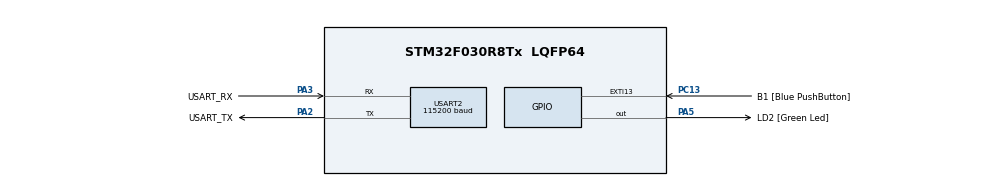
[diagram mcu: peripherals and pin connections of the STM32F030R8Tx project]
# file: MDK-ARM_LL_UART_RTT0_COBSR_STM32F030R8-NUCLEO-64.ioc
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Mcu.Family=STM32F0
Mcu.Name=STM32F030R8Tx
Mcu.Package=LQFP64
NVIC.USART2_IRQn=true\:0\:0\:false\:false\:true\:true\:true
PA13.GPIO_Label=TMS
PA13.Mode=Serial_Wire
PA13.Signal=SYS_SWDIO
PA14.GPIO_Label=TCK
PA14.Mode=Serial_Wire
PA14.Signal=SYS_SWCLK
PA2.GPIO_Label=USART_TX
PA2.GPIO_Mode=GPIO_MODE_AF_PP
PA2.GPIO_PuPd=GPIO_NOPULL
PA2.GPIO_Speed=GPIO_SPEED_FREQ_LOW
PA2.Mode=Asynchronous
PA2.Signal=USART2_TX
PA3.GPIO_Label=USART_RX
PA3.GPIO_Mode=GPIO_MODE_AF_PP
PA3.GPIO_PuPd=GPIO_NOPULL
PA3.GPIO_Speed=GPIO_SPEED_FREQ_LOW
PA3.Mode=Asynchronous
PA3.Signal=USART2_RX
PA5.GPIO_Label=LD2 [Green Led]
PA5.GPIO_Mode=GPIO_MODE_OUTPUT_PP
PA5.GPIO_PuPd=GPIO_NOPULL
PA5.GPIO_Speed=GPIO_SPEED_FREQ_LOW
PA5.Signal=GPIO_Output
PC13.GPIO_Label=B1 [Blue PushButton]
PC13.GPIO_ModeDefaultEXTI=GPIO_MODE_IT_FALLING
PC13.Signal=GPXTI13
PC14-OSC32_IN.Mode=LSE-External-Oscillator
PC14-OSC32_IN.Signal=RCC_OSC32_IN
PC15-OSC32_OUT.Mode=LSE-External-Oscillator
PC15-OSC32_OUT.Signal=RCC_OSC32_OUT
PF0-OSC_IN.Mode=HSE-External-Clock-Source
PF0-OSC_IN.Signal=RCC_OSC_IN
PF1-OSC_OUT.Signal=RCC_OSC_OUT
ProjectManager.HeapSize=0x200
ProjectManager.StackSize=0x400
ProjectManager.TargetToolchain=MDK-ARM V5.27
RCC.AHBFreq_Value=48000000
RCC.APB1Freq_Value=48000000
RCC.APB1TimFreq_Value=48000000
RCC.HCLKFreq_Value=48000000
RCC.PLLMUL=RCC_PLL_MUL12
RCC.SYSCLKFreq_VALUE=48000000
RCC.SYSCLKSource=RCC_SYSCLKSOURCE_PLLCLK
USART2.BaudRate=115200
USART2.VirtualMode-Asynchronous=VM_ASYNC
board=NUCLEO-F030R8

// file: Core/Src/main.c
/* USER CODE BEGIN Header */
/**
  ******************************************************************************
  * @file           : main.c
  * @brief          : Main program body
  ******************************************************************************
  * @attention
  *
  * <h2><center>&copy; Copyright (c) 2021 STMicroelectronics.
  * All rights reserved.</center></h2>
  *
  * This software component is licensed by ST under BSD 3-Clause license,
  * the "License"; You may not use this file except in compliance with the
  * License. You may obtain a copy of the License at:
  *                        opensource.org/licenses/BSD-3-Clause
  *
  ******************************************************************************
  */
/* USER CODE END Header */
#include "main.h"

/* USER CODE BEGIN Includes */
#include <stdlib.h> // srand
#include "trice.h"
/* USER CODE END Includes */

/* USER CODE BEGIN PV */
int milliSecond = 0;
/* USER CODE END PV */

void SystemClock_Config(void);
static void MX_GPIO_Init(void);
static void MX_USART2_UART_Init(void);

int main(void)
{
  /* USER CODE BEGIN 1 */
#ifdef ENCRYPT
    InitXteaTable();
#endif
  /* USER CODE END 1 */

  /* MCU Configuration--------------------------------------------------------*/

  /* Reset of all peripherals, Initializes the Flash interface and the Systick. */

  LL_APB1_GRP2_EnableClock(LL_APB1_GRP2_PERIPH_SYSCFG);
  LL_APB1_GRP1_EnableClock(LL_APB1_GRP1_PERIPH_PWR);

  /* System interrupt init*/

  /* Configure the system clock */
  SystemClock_Config();

  /* USER CODE BEGIN SysInit */
    SysTick->CTRL |= SysTick_CTRL_TICKINT_Msk; // enable SysTick interrupt
  /* USER CODE END SysInit */

  /* Initialize all configured peripherals */
  MX_GPIO_Init();
  MX_USART2_UART_Init();
  /* USER CODE BEGIN 2 */
    LL_USART_EnableIT_RXNE(TRICE_UART); // enable UART2 interrupt
    //SEGGER_RTT_Init();
    //SEGGER_RTT_SetTerminal(0);
    TRICE_HEADLINE;
    //TRICE16_1( Id( 44374), "tst:Hi! %x\n", 0x1122 );
    srand(SYSTICKVAL16);
  /* USER CODE END 2 */

  /* Infinite loop */
  /* USER CODE BEGIN WHILE */
  while (1){
      // serve every few ms
#ifdef TRICE_READ_AND_TRANSLATE_INTERVAL_MS
      static int lastMs = 0;
      if( milliSecond >= lastMs + TRICE_READ_AND_TRANSLATE_INTERVAL_MS ){
          lastMs = milliSecond;
          TRICE_READ_AND_TRANSFER();
      }
#endif
    /* USER CODE END WHILE */

    /* USER CODE BEGIN 3 */
  {
    static int lastTricesTime = 0;
    // send some trices every few ms
        if( milliSecond >= lastTricesTime + 200 ){
            static int index = 0;
            int select = index % 20;
            TRICE16_3( Id( 63860),"MSG: select = %d, TriceDepthMax =%d of %d, START\n", select, TriceDepthMax, TRICE_BUFFER_SIZE );
            //select = 18;
            triceCheckSet(select);
            TRICE16_3( Id( 51113),"MSG: select = %d, TriceDepthMax =%d of %d STOP\n", select, TriceDepthMax, TRICE_BUFFER_SIZE );
            index++;
            lastTricesTime = milliSecond;
        }
    }
  }
  /* USER CODE END 3 */
}

void SystemClock_Config(void)
{
  LL_FLASH_SetLatency(LL_FLASH_LATENCY_1);
  while(LL_FLASH_GetLatency() != LL_FLASH_LATENCY_1)
  {
  }
  LL_RCC_HSI_Enable();

   /* Wait till HSI is ready */
  while(LL_RCC_HSI_IsReady() != 1)
  {

  }
  LL_RCC_HSI_SetCalibTrimming(16);
  LL_RCC_PLL_ConfigDomain_SYS(LL_RCC_PLLSOURCE_HSI_DIV_2, LL_RCC_PLL_MUL_12);
  LL_RCC_PLL_Enable();

   /* Wait till PLL is ready */
  while(LL_RCC_PLL_IsReady() != 1)
  {

  }
  LL_RCC_SetAHBPrescaler(LL_RCC_SYSCLK_DIV_1);
  LL_RCC_SetAPB1Prescaler(LL_RCC_APB1_DIV_1);
  LL_RCC_SetSysClkSource(LL_RCC_SYS_CLKSOURCE_PLL);

   /* Wait till System clock is ready */
  while(LL_RCC_GetSysClkSource() != LL_RCC_SYS_CLKSOURCE_STATUS_PLL)
  {

  }
  LL_Init1msTick(48000000);
  LL_SetSystemCoreClock(48000000);
}

static void MX_USART2_UART_Init(void)
{

  LL_USART_InitTypeDef USART_InitStruct = {0};

  LL_GPIO_InitTypeDef GPIO_InitStruct = {0};

  /* Peripheral clock enable */
  LL_APB1_GRP1_EnableClock(LL_APB1_GRP1_PERIPH_USART2);

  LL_AHB1_GRP1_EnableClock(LL_AHB1_GRP1_PERIPH_GPIOA);
  /**USART2 GPIO Configuration
  PA2   ------> USART2_TX
  PA3   ------> USART2_RX
  */
  GPIO_InitStruct.Pin = USART_TX_Pin;
  GPIO_InitStruct.Mode = LL_GPIO_MODE_ALTERNATE;
  GPIO_InitStruct.Speed = LL_GPIO_SPEED_FREQ_LOW;
  GPIO_InitStruct.OutputType = LL_GPIO_OUTPUT_PUSHPULL;
  GPIO_InitStruct.Pull = LL_GPIO_PULL_NO;
  GPIO_InitStruct.Alternate = LL_GPIO_AF_1;
  LL_GPIO_Init(USART_TX_GPIO_Port, &GPIO_InitStruct);

  GPIO_InitStruct.Pin = USART_RX_Pin;
  GPIO_InitStruct.Mode = LL_GPIO_MODE_ALTERNATE;
  GPIO_InitStruct.Speed = LL_GPIO_SPEED_FREQ_LOW;
  GPIO_InitStruct.OutputType = LL_GPIO_OUTPUT_PUSHPULL;
  GPIO_InitStruct.Pull = LL_GPIO_PULL_NO;
  GPIO_InitStruct.Alternate = LL_GPIO_AF_1;
  LL_GPIO_Init(USART_RX_GPIO_Port, &GPIO_InitStruct);

  /* USART2 interrupt Init */
  NVIC_SetPriority(USART2_IRQn, 0);
  NVIC_EnableIRQ(USART2_IRQn);

  USART_InitStruct.BaudRate = 115200;
  USART_InitStruct.DataWidth = LL_USART_DATAWIDTH_8B;
  USART_InitStruct.StopBits = LL_USART_STOPBITS_1;
  USART_InitStruct.Parity = LL_USART_PARITY_NONE;
  USART_InitStruct.TransferDirection = LL_USART_DIRECTION_TX_RX;
  USART_InitStruct.HardwareFlowControl = LL_USART_HWCONTROL_NONE;
  USART_InitStruct.OverSampling = LL_USART_OVERSAMPLING_16;
  LL_USART_Init(USART2, &USART_InitStruct);
  LL_USART_DisableIT_CTS(USART2);
  LL_USART_ConfigAsyncMode(USART2);
  LL_USART_Enable(USART2);

}

static void MX_GPIO_Init(void)
{
  LL_EXTI_InitTypeDef EXTI_InitStruct = {0};
  LL_GPIO_InitTypeDef GPIO_InitStruct = {0};

  /* GPIO Ports Clock Enable */
  LL_AHB1_GRP1_EnableClock(LL_AHB1_GRP1_PERIPH_GPIOC);
  LL_AHB1_GRP1_EnableClock(LL_AHB1_GRP1_PERIPH_GPIOF);
  LL_AHB1_GRP1_EnableClock(LL_AHB1_GRP1_PERIPH_GPIOA);

  /**/
  LL_GPIO_ResetOutputPin(LD2_GPIO_Port, LD2_Pin);

  /**/
  LL_SYSCFG_SetEXTISource(LL_SYSCFG_EXTI_PORTC, LL_SYSCFG_EXTI_LINE13);

  /**/
  LL_GPIO_SetPinPull(B1_GPIO_Port, B1_Pin, LL_GPIO_PULL_NO);

  /**/
  LL_GPIO_SetPinMode(B1_GPIO_Port, B1_Pin, LL_GPIO_MODE_INPUT);

  /**/
  EXTI_InitStruct.Line_0_31 = LL_EXTI_LINE_13;
  EXTI_InitStruct.LineCommand = ENABLE;
  EXTI_InitStruct.Mode = LL_EXTI_MODE_IT;
  EXTI_InitStruct.Trigger = LL_EXTI_TRIGGER_FALLING;
  LL_EXTI_Init(&EXTI_InitStruct);

  /**/
  GPIO_InitStruct.Pin = LD2_Pin;
  GPIO_InitStruct.Mode = LL_GPIO_MODE_OUTPUT;
  GPIO_InitStruct.Speed = LL_GPIO_SPEED_FREQ_LOW;
  GPIO_InitStruct.OutputType = LL_GPIO_OUTPUT_PUSHPULL;
  GPIO_InitStruct.Pull = LL_GPIO_PULL_NO;
  LL_GPIO_Init(LD2_GPIO_Port, &GPIO_InitStruct);

}

void Error_Handler(void)
{
  __disable_irq();
  while (1)
  {
  }
}

/************************ (C) COPYRIGHT STMicroelectronics *****END OF FILE****/
